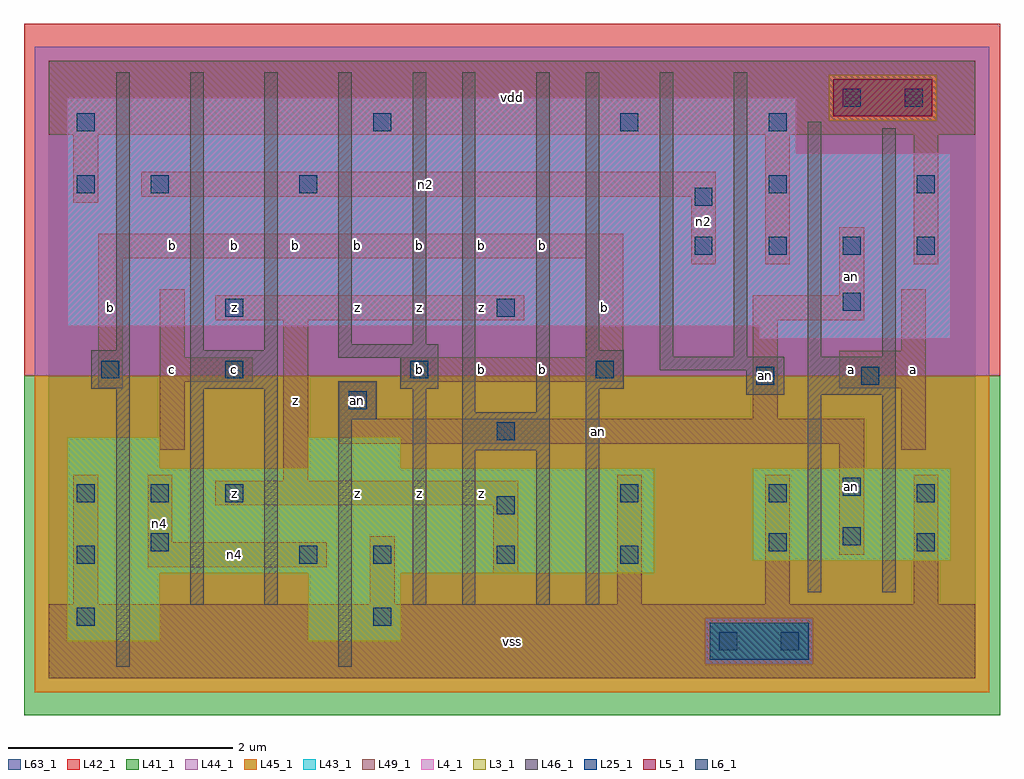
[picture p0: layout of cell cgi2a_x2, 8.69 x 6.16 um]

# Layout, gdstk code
import gdstk
lib = gdstk.Library(unit=1e-6, precision=1e-09)
def R(c, l, rs):  # rectangles x0, y0, x1, y1
    for r in rs: c.add(gdstk.rectangle(r[:2], r[2:], *l))
def A(c, l, x, y, w, h, nx, ny, dx, dy):  # array of equal rectangles
    R(c, l, [(x+i*dx, y+j*dy, x+i*dx+w, y+j*dy+h) for i in range(nx) for j in range(ny)])
L3_1 = (3, 1)
L4_1 = (4, 1)
L5_1 = (5, 1)
L6_1 = (6, 1)
L25_1 = (25, 1)
L41_1 = (41, 1)
L42_1 = (42, 1)
L43_1 = (43, 1)
L44_1 = (44, 1)
L45_1 = (45, 1)
L46_1 = (46, 1)
L49_1 = (49, 1)
L63_1 = (63, 1)

cgi2a_x2 = lib.new_cell('cgi2a_x2')
R(cgi2a_x2, L3_1, [(0.165,0.33,0.99,0.935), (2.31,0.33,3.135,0.935), (0.165,0.935,5.39,1.87), (6.27,1.045,8.03,1.87), (0.165,1.87,0.99,2.145), (2.31,1.87,3.135,2.145)])
R(cgi2a_x2, L4_1, [(6.325,3.025,8.03,3.135), (0.165,3.135,8.03,4.675), (0.165,4.675,6.655,5.17)])
R(cgi2a_x2, L5_1, [(6.985,5.005,7.865,5.335)])
R(cgi2a_x2, L6_1, [(5.885,0.165,6.765,0.495)])
A(cgi2a_x2, L25_1, 2.89, 1.02, 0.16, 0.16, 3, 1, 1.1, 0)
A(cgi2a_x2, L25_1, 0.25, 1.57, 0.16, 0.16, 3, 1, 0.66, 0)
A(cgi2a_x2, L25_1, 5.09, 1.57, 0.16, 0.16, 3, 1, 1.32, 0)
A(cgi2a_x2, L25_1, 1.57, 2.67, 0.16, 0.16, 3, 1, 1.65, 0)
A(cgi2a_x2, L25_1, 5.75, 3.77, 0.16, 0.16, 4, 1, 0.66, 0)
R(cgi2a_x2, L25_1, [(5.97,0.25,6.13,0.41), (6.52,0.25,6.68,0.41), (0.25,0.47,0.41,0.63), (2.89,0.47,3.05,0.63), (0.25,1.02,0.41,1.18), (2.23,1.02,2.39,1.18), (0.91,1.13,1.07,1.29), (6.41,1.13,6.57,1.29), (7.73,1.13,7.89,1.29), (7.07,1.185,7.23,1.345), (3.99,1.46,4.15,1.62), (7.07,1.625,7.23,1.785), (3.99,2.12,4.15,2.28), (2.67,2.395,2.83,2.555), (6.3,2.615,6.46,2.775), (7.235,2.615,7.395,2.775), (0.47,2.67,0.63,2.83), (1.57,3.22,1.73,3.38), (3.99,3.22,4.15,3.38), (7.07,3.275,7.23,3.435), (5.75,4.21,5.91,4.37), (0.25,4.32,0.41,4.48), (0.91,4.32,1.07,4.48), (2.23,4.32,2.39,4.48), (6.41,4.32,6.57,4.48), (7.73,4.32,7.89,4.48), (0.25,4.87,0.41,5.03), (2.89,4.87,3.05,5.03), (5.09,4.87,5.25,5.03), (6.41,4.87,6.57,5.03), (7.07,5.09,7.23,5.25), (7.62,5.09,7.78,5.25)])
R(cgi2a_x2, L41_1, [(-0.22,-0.33,8.47,2.695)])
R(cgi2a_x2, L42_1, [(-0.22,2.695,8.47,5.83)])
R(cgi2a_x2, L43_1, [(5.885,0.165,6.765,0.495), (0.165,0.33,0.99,0.935), (2.31,0.33,3.135,0.935), (0.165,0.935,5.39,1.87), (6.27,1.045,8.03,1.87), (0.165,1.87,0.99,2.145), (2.31,1.87,3.135,2.145), (6.325,3.025,8.03,3.135), (0.165,3.135,8.03,4.675), (0.165,4.675,6.655,5.17), (6.985,5.005,7.865,5.335)])
R(cgi2a_x2, L44_1, [(5.845,0.125,6.805,0.535), (-0.125,2.695,8.375,4.965), (-0.125,4.965,6.945,5.375), (7.905,4.965,8.375,5.375), (-0.125,5.375,8.375,5.625)])
R(cgi2a_x2, L45_1, [(-0.125,-0.125,8.375,0.125), (-0.125,0.125,5.845,0.535), (6.805,0.125,8.375,0.535), (-0.125,0.535,8.375,2.695), (6.945,4.965,7.905,5.375)])
A(cgi2a_x2, L46_1, 0.6, 2.92, 0.12, 2.475, 3, 1, 0.66, 0)
R(cgi2a_x2, L46_1, [(0.6,0.105,0.72,2.58), (2.58,0.105,2.7,2.305), (1.26,0.655,1.38,2.58), (1.92,0.655,2.04,2.58), (3.24,0.655,3.36,2.58), (3.68,0.655,3.8,2.03), (4.34,0.655,4.46,2.03), (4.78,0.655,4.9,2.58), (6.76,0.765,6.88,2.525), (7.42,0.765,7.54,2.525), (3.68,2.03,4.46,2.37), (2.58,2.305,2.92,2.645), (3.68,2.37,3.8,5.395), (4.34,2.37,4.46,5.395), (6.21,2.525,6.55,2.745), (6.76,2.525,7.54,2.865), (0.38,2.58,0.72,2.92), (1.26,2.58,2.04,2.92), (3.13,2.58,3.47,2.855), (4.78,2.58,5.12,2.92), (5.44,2.745,6.55,2.865), (2.58,2.855,3.47,2.975), (5.44,2.865,5.56,5.395), (6.1,2.865,6.22,5.395), (6.76,2.865,6.88,4.955), (7.42,2.865,7.54,4.9), (4.78,2.92,4.9,5.395), (2.58,2.975,2.7,5.395), (3.24,2.975,3.36,5.395)])
A(cgi2a_x2, L49_1, 5.06, 0.66, 0.22, 1.155, 3, 1, 1.32, 0)
R(cgi2a_x2, L49_1, [(0,0,8.25,0.66), (0.22,0.66,0.44,1.815), (2.86,0.66,3.08,1.265), (3.96,0.935,4.18,1.54), (0.88,0.99,2.475,1.21), (7.04,1.1,7.26,2.09), (0.88,1.21,1.1,1.815), (1.485,1.54,4.18,1.76), (2.09,1.76,2.31,3.19), (0.99,2.035,1.21,2.64), (7.59,2.035,7.81,2.585), (2.585,2.09,7.26,2.31), (2.585,2.31,2.915,2.64), (6.27,2.31,6.49,3.19), (0.44,2.585,0.66,3.74), (7.04,2.585,7.81,2.915), (0.99,2.64,1.815,2.86), (3.135,2.64,5.115,2.86), (0.99,2.86,1.21,3.465), (4.785,2.86,5.115,3.74), (7.59,2.915,7.81,3.465), (1.485,3.19,4.235,3.41), (6.27,3.19,7.26,3.41), (7.04,3.41,7.26,4.015), (5.72,3.685,5.94,4.29), (6.38,3.685,6.6,4.84), (7.7,3.685,7.92,4.84), (0.44,3.74,5.115,3.96), (0.22,4.235,0.44,4.84), (0.825,4.29,5.94,4.51), (0,4.84,8.25,5.5)])
R(cgi2a_x2, L63_1, [(0,0,8.25,5.5)])
cgi2a_x2.add(gdstk.Label('an', (2.75,2.475), layer=49, texttype=1))
cgi2a_x2.add(gdstk.Label('an', (6.38,2.695), layer=49, texttype=1))
cgi2a_x2.add(gdstk.Label('n4', (0.99,1.375), layer=49, texttype=1))
cgi2a_x2.add(gdstk.Label('c', (1.1,2.75), layer=49, texttype=1))
cgi2a_x2.add(gdstk.Label('c', (1.1,2.75), layer=49, texttype=1))
cgi2a_x2.add(gdstk.Label('b', (0.55,3.3), layer=49, texttype=1))
cgi2a_x2.add(gdstk.Label('b', (0.55,3.3), layer=49, texttype=1))
cgi2a_x2.add(gdstk.Label('b', (1.1,3.85), layer=49, texttype=1))
cgi2a_x2.add(gdstk.Label('b', (1.1,3.85), layer=49, texttype=1))
cgi2a_x2.add(gdstk.Label('n4', (1.65,1.1), layer=49, texttype=1))
cgi2a_x2.add(gdstk.Label('z', (1.65,1.65), layer=49, texttype=1))
cgi2a_x2.add(gdstk.Label('z', (1.65,1.65), layer=49, texttype=1))
cgi2a_x2.add(gdstk.Label('z', (2.75,1.65), layer=49, texttype=1))
cgi2a_x2.add(gdstk.Label('z', (2.75,1.65), layer=49, texttype=1))
cgi2a_x2.add(gdstk.Label('an', (2.75,2.365), layer=49, texttype=1))
cgi2a_x2.add(gdstk.Label('c', (1.65,2.75), layer=49, texttype=1))
cgi2a_x2.add(gdstk.Label('c', (1.65,2.75), layer=49, texttype=1))
cgi2a_x2.add(gdstk.Label('z', (2.2,2.475), layer=49, texttype=1))
cgi2a_x2.add(gdstk.Label('z', (2.2,2.475), layer=49, texttype=1))
cgi2a_x2.add(gdstk.Label('z', (2.75,3.3), layer=49, texttype=1))
cgi2a_x2.add(gdstk.Label('z', (2.75,3.3), layer=49, texttype=1))
cgi2a_x2.add(gdstk.Label('z', (1.65,3.3), layer=49, texttype=1))
cgi2a_x2.add(gdstk.Label('z', (1.65,3.3), layer=49, texttype=1))
cgi2a_x2.add(gdstk.Label('b', (1.65,3.85), layer=49, texttype=1))
cgi2a_x2.add(gdstk.Label('b', (1.65,3.85), layer=49, texttype=1))
cgi2a_x2.add(gdstk.Label('b', (2.2,3.85), layer=49, texttype=1))
cgi2a_x2.add(gdstk.Label('b', (2.75,3.85), layer=49, texttype=1))
cgi2a_x2.add(gdstk.Label('b', (2.75,3.85), layer=49, texttype=1))
cgi2a_x2.add(gdstk.Label('b', (2.2,3.85), layer=49, texttype=1))
cgi2a_x2.add(gdstk.Label('vss', (4.125,0.33), layer=49, texttype=1))
cgi2a_x2.add(gdstk.Label('vss', (4.125,0.33), layer=49, texttype=1))
cgi2a_x2.add(gdstk.Label('z', (3.3,1.65), layer=49, texttype=1))
cgi2a_x2.add(gdstk.Label('z', (3.3,1.65), layer=49, texttype=1))
cgi2a_x2.add(gdstk.Label('z', (3.85,1.65), layer=49, texttype=1))
cgi2a_x2.add(gdstk.Label('z', (3.85,1.65), layer=49, texttype=1))
cgi2a_x2.add(gdstk.Label('b', (3.3,2.75), layer=49, texttype=1))
cgi2a_x2.add(gdstk.Label('b', (3.3,2.75), layer=49, texttype=1))
cgi2a_x2.add(gdstk.Label('b', (4.4,2.75), layer=49, texttype=1))
cgi2a_x2.add(gdstk.Label('b', (3.85,2.75), layer=49, texttype=1))
cgi2a_x2.add(gdstk.Label('b', (4.4,2.75), layer=49, texttype=1))
cgi2a_x2.add(gdstk.Label('b', (3.85,2.75), layer=49, texttype=1))
cgi2a_x2.add(gdstk.Label('z', (3.85,3.3), layer=49, texttype=1))
cgi2a_x2.add(gdstk.Label('z', (3.85,3.3), layer=49, texttype=1))
cgi2a_x2.add(gdstk.Label('z', (3.3,3.3), layer=49, texttype=1))
cgi2a_x2.add(gdstk.Label('z', (3.3,3.3), layer=49, texttype=1))
cgi2a_x2.add(gdstk.Label('b', (3.3,3.85), layer=49, texttype=1))
cgi2a_x2.add(gdstk.Label('b', (3.3,3.85), layer=49, texttype=1))
cgi2a_x2.add(gdstk.Label('b', (4.4,3.85), layer=49, texttype=1))
cgi2a_x2.add(gdstk.Label('b', (3.85,3.85), layer=49, texttype=1))
cgi2a_x2.add(gdstk.Label('b', (4.4,3.85), layer=49, texttype=1))
cgi2a_x2.add(gdstk.Label('b', (3.85,3.85), layer=49, texttype=1))
cgi2a_x2.add(gdstk.Label('vdd', (4.125,5.17), layer=49, texttype=1))
cgi2a_x2.add(gdstk.Label('vdd', (4.125,5.17), layer=49, texttype=1))
cgi2a_x2.add(gdstk.Label('b', (4.95,3.3), layer=49, texttype=1))
cgi2a_x2.add(gdstk.Label('b', (4.95,3.3), layer=49, texttype=1))
cgi2a_x2.add(gdstk.Label('an', (6.38,2.75), layer=49, texttype=1))
cgi2a_x2.add(gdstk.Label('n2', (5.83,4.07), layer=49, texttype=1))
cgi2a_x2.add(gdstk.Label('n2', (3.355,4.4), layer=49, texttype=1))
cgi2a_x2.add(gdstk.Label('an', (4.895,2.2), layer=49, texttype=1))
cgi2a_x2.add(gdstk.Label('an', (7.15,1.705), layer=49, texttype=1))
cgi2a_x2.add(gdstk.Label('a', (7.15,2.75), layer=49, texttype=1))
cgi2a_x2.add(gdstk.Label('a', (7.7,2.75), layer=49, texttype=1))
cgi2a_x2.add(gdstk.Label('a', (7.15,2.75), layer=49, texttype=1))
cgi2a_x2.add(gdstk.Label('a', (7.7,2.75), layer=49, texttype=1))
cgi2a_x2.add(gdstk.Label('an', (7.15,3.575), layer=49, texttype=1))

lib.write_gds('cgi2a_x2.gds')
